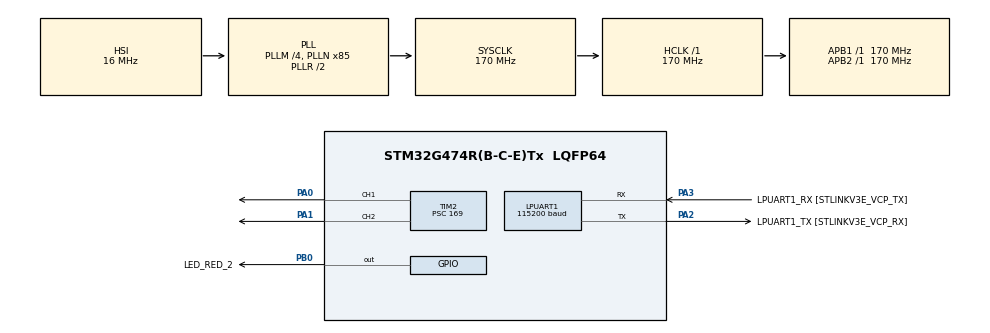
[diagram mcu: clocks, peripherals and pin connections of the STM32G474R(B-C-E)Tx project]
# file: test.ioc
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LPUART1.BaudRate=115200
Mcu.Family=STM32G4
Mcu.Name=STM32G474R(B-C-E)Tx
Mcu.Package=LQFP64
NVIC.LPUART1_IRQn=true\:1\:0\:true\:false\:true\:true\:true\:true
NVIC.PriorityGroup=NVIC_PRIORITYGROUP_4
NVIC.TIM6_DAC_IRQn=true\:1\:0\:true\:false\:true\:true\:true\:true
PA0.Signal=S_TIM2_CH1
PA1.Signal=S_TIM2_CH2
PA13.GPIO_Label=T_SWDIO
PA13.Signal=SYS_JTMS-SWDIO
PA14.GPIO_Label=T_SWCLK
PA14.Signal=SYS_JTCK-SWCLK
PA2.GPIO_Label=LPUART1_TX [STLINKV3E_VCP_RX]
PA2.Mode=Asynchronous
PA2.Signal=LPUART1_TX
PA3.GPIO_Label=LPUART1_RX [STLINKV3E_VCP_TX]
PA3.Mode=Asynchronous
PA3.Signal=LPUART1_RX
PB0.GPIO_Label=LED_RED_2
PB0.Signal=GPIO_Output
PB3.GPIO_Label=T_SWO
PB3.Signal=SYS_JTDO-SWO
PC14-OSC32_IN.GPIO_Label=RCC_OSC32_IN
PC14-OSC32_IN.Signal=RCC_OSC32_IN
PC15-OSC32_OUT.GPIO_Label=RCC_OSC32_OUT
PC15-OSC32_OUT.Signal=RCC_OSC32_OUT
PF0-OSC_IN.GPIO_Label=RCC_OSC_IN
PF0-OSC_IN.Signal=RCC_OSC_IN
PF1-OSC_OUT.GPIO_Label=RCC_OSC_OUT
PF1-OSC_OUT.Signal=RCC_OSC_OUT
ProjectManager.HeapSize=0x200
ProjectManager.StackSize=0x400
ProjectManager.TargetToolchain=STM32CubeIDE
RCC.ADC12Freq_Value=170000000
RCC.ADC345Freq_Value=170000000
RCC.AHBFreq_Value=170000000
RCC.APB1Freq_Value=170000000
RCC.APB1TimFreq_Value=170000000
RCC.APB2Freq_Value=170000000
RCC.APB2TimFreq_Value=170000000
RCC.CortexFreq_Value=170000000
RCC.EXTERNAL_CLOCK_VALUE=12288000
RCC.HCLKFreq_Value=170000000
RCC.HSE_VALUE=24000000
RCC.HSI48_VALUE=48000000
RCC.HSI_VALUE=16000000
RCC.LSE_VALUE=32768
RCC.PLLM=RCC_PLLM_DIV4
RCC.PLLN=85
RCC.RTCClockSelection=RCC_RTCCLKSOURCE_LSE
RCC.SYSCLKFreq_VALUE=170000000
RCC.SYSCLKSource=RCC_SYSCLKSOURCE_PLLCLK
RCC.USBFreq_Value=170000000
RCC.VCOOutputFreq_Value=340000000
SH.S_TIM2_CH1.0=TIM2_CH1,PWM Generation1 CH1
SH.S_TIM2_CH2.0=TIM2_CH2,PWM Generation2 CH2
TIM2.Channel-PWM\ Generation1\ CH1=TIM_CHANNEL_1
TIM2.Channel-PWM\ Generation2\ CH2=TIM_CHANNEL_2
TIM2.PeriodNoDither=999
TIM2.Prescaler=169
TIM6.Prescaler=1700-1
VP_SYS_VS_DBSignals.Mode=DisableDeadBatterySignals
VP_TIM6_VS_ClockSourceINT.Mode=Enable_Timer
board=NUCLEO-G474RE

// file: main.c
/* USER CODE BEGIN Header */
/**
  ******************************************************************************
  * @file           : main.c
  * @brief          : Main program body
  ******************************************************************************
  * @attention
  *
  * Copyright (c) 2026 STMicroelectronics.
  * All rights reserved.
  *
  * This software is licensed under terms that can be found in the LICENSE file
  * in the root directory of this software component.
  * If no LICENSE file comes with this software, it is provided AS-IS.
  *
  ******************************************************************************
  */
/* USER CODE END Header */
#include "main.h"
#include <string.h>
#include <stdio.h>

UART_HandleTypeDef hlpuart1;

TIM_HandleTypeDef htim2;
TIM_HandleTypeDef htim6;

/* USER CODE BEGIN PV */
#define CORRECT_PASSWORD "6666"
char rx_buffer[10];
uint8_t rx_data;
uint8_t rx_index = 0;
uint8_t error_count = 0;
volatile uint32_t lock_timer = 0; // 30秒鎖定倒數計時器（需加 volatile 供中斷修改）

typedef enum {
    STATE_LOCKED = 0,    // 鎖定中（紅燈1呼吸）
    STATE_LOCKOUT_30S,   // 錯誤3次，鎖定30秒（紅1與紅2交互閃爍並倒數）
    STATE_UNLOCKED       // 解鎖狀態（綠燈1呼吸）
} SystemState_t;

volatile SystemState_t current_state = STATE_LOCKED;
/* USER CODE END PV */

void SystemClock_Config(void);
static void MX_GPIO_Init(void);
static void MX_LPUART1_UART_Init(void);
static void MX_TIM2_Init(void);
static void MX_TIM6_Init(void);
/* USER CODE BEGIN PFP */
void UART_SendString(char *str);
/* USER CODE END PFP */

int main(void)
{

  /* MCU Configuration--------------------------------------------------------*/
  HAL_Init();

  /* Configure the system clock */
  SystemClock_Config();

  /* Initialize all configured peripherals */
  MX_GPIO_Init();
  MX_LPUART1_UART_Init();
  MX_TIM2_Init();
  MX_TIM6_Init();

  /* USER CODE BEGIN 2 */
  // 啟動 TIM2 CH1 (PA0 紅燈1) 與 CH2 (PA1 綠燈1) 的 PWM 輸出
  HAL_TIM_PWM_Start(&htim2, TIM_CHANNEL_1);
  HAL_TIM_PWM_Start(&htim2, TIM_CHANNEL_2);

  // 啟動 TIM6 定時器中斷 (精準 1 秒中斷一次)
  HAL_TIM_Base_Start_IT(&htim6);

  // 開啟 LPUART1 中斷接收
  HAL_UART_Receive_IT(&hlpuart1, &rx_data, 1);

  UART_SendString("System Initialized. Please enter password:\r\n");
  /* USER CODE END 2 */

  /* Infinite loop */
  while (1)
  {

      if (current_state == STATE_LOCKED)
      {
          __HAL_TIM_SET_COMPARE(&htim2, TIM_CHANNEL_2, 0); // 關閉綠燈

          // 紅燈 1 (PA0) 呼吸燈
          for (int i = 0; i < 1000; i += 10)
          {
              __HAL_TIM_SET_COMPARE(&htim2, TIM_CHANNEL_1, i);
              HAL_Delay(5);
              if (current_state != STATE_LOCKED) break;
          }
          for (int i = 1000; i > 0; i -= 10)
          {
              __HAL_TIM_SET_COMPARE(&htim2, TIM_CHANNEL_1, i);
              HAL_Delay(5);
              if (current_state != STATE_LOCKED) break;
          }
      }
      else if (current_state == STATE_LOCKOUT_30S)
      {
          // 30 秒鎖定期間：紅燈 1 (PA0) 與紅燈 2 (PB0) 交互閃爍
          __HAL_TIM_SET_COMPARE(&htim2, TIM_CHANNEL_1, 1000);
          HAL_GPIO_WritePin(GPIOB, GPIO_PIN_0, GPIO_PIN_RESET);
          HAL_Delay(300);

          __HAL_TIM_SET_COMPARE(&htim2, TIM_CHANNEL_1, 0);
          HAL_GPIO_WritePin(GPIOB, GPIO_PIN_0, GPIO_PIN_SET);
          HAL_Delay(300);
      }
      else if (current_state == STATE_UNLOCKED)
      {
          __HAL_TIM_SET_COMPARE(&htim2, TIM_CHANNEL_1, 0); // 關閉紅燈1

          // 綠燈 1 (PA1) 呼吸燈
          for (int i = 0; i < 1000; i += 10)
          {
              __HAL_TIM_SET_COMPARE(&htim2, TIM_CHANNEL_2, i);
              HAL_Delay(5);
              if (current_state != STATE_UNLOCKED) break;
          }
          for (int i = 1000; i > 0; i -= 10)
          {
              __HAL_TIM_SET_COMPARE(&htim2, TIM_CHANNEL_2, i);
              HAL_Delay(5);
              if (current_state != STATE_UNLOCKED) break;
          }
      }

  }
}

void SystemClock_Config(void)
{
  RCC_OscInitTypeDef RCC_OscInitStruct = {0};
  RCC_ClkInitTypeDef RCC_ClkInitStruct = {0};

  /** Configure the main internal regulator output voltage
  */
  HAL_PWREx_ControlVoltageScaling(PWR_REGULATOR_VOLTAGE_SCALE1_BOOST);

  /** Initializes the RCC Oscillators according to the specified parameters
  * in the RCC_OscInitTypeDef structure.
  */
  RCC_OscInitStruct.OscillatorType = RCC_OSCILLATORTYPE_HSI;
  RCC_OscInitStruct.HSIState = RCC_HSI_ON;
  RCC_OscInitStruct.HSICalibrationValue = RCC_HSICALIBRATION_DEFAULT;
  RCC_OscInitStruct.PLL.PLLState = RCC_PLL_ON;
  RCC_OscInitStruct.PLL.PLLSource = RCC_PLLSOURCE_HSI;
  RCC_OscInitStruct.PLL.PLLM = RCC_PLLM_DIV4;
  RCC_OscInitStruct.PLL.PLLN = 85;
  RCC_OscInitStruct.PLL.PLLP = RCC_PLLP_DIV2;
  RCC_OscInitStruct.PLL.PLLQ = RCC_PLLQ_DIV2;
  RCC_OscInitStruct.PLL.PLLR = RCC_PLLR_DIV2;
  if (HAL_RCC_OscConfig(&RCC_OscInitStruct) != HAL_OK)
  {
    Error_Handler();
  }

  /** Initializes the CPU, AHB and APB buses clocks
  */
  RCC_ClkInitStruct.ClockType = RCC_CLOCKTYPE_HCLK|RCC_CLOCKTYPE_SYSCLK
                              |RCC_CLOCKTYPE_PCLK1|RCC_CLOCKTYPE_PCLK2;
  RCC_ClkInitStruct.SYSCLKSource = RCC_SYSCLKSOURCE_PLLCLK;
  RCC_ClkInitStruct.AHBCLKDivider = RCC_SYSCLK_DIV1;
  RCC_ClkInitStruct.APB1CLKDivider = RCC_HCLK_DIV1;
  RCC_ClkInitStruct.APB2CLKDivider = RCC_HCLK_DIV1;

  if (HAL_RCC_ClockConfig(&RCC_ClkInitStruct, FLASH_LATENCY_4) != HAL_OK)
  {
    Error_Handler();
  }
}

static void MX_LPUART1_UART_Init(void)
{
  hlpuart1.Instance = LPUART1;
  hlpuart1.Init.BaudRate = 115200;
  hlpuart1.Init.WordLength = UART_WORDLENGTH_8B;
  hlpuart1.Init.StopBits = UART_STOPBITS_1;
  hlpuart1.Init.Parity = UART_PARITY_NONE;
  hlpuart1.Init.Mode = UART_MODE_TX_RX;
  hlpuart1.Init.HwFlowCtl = UART_HWCONTROL_NONE;
  hlpuart1.Init.OneBitSampling = UART_ONE_BIT_SAMPLE_DISABLE;
  hlpuart1.Init.ClockPrescaler = UART_PRESCALER_DIV1;
  hlpuart1.AdvancedInit.AdvFeatureInit = UART_ADVFEATURE_NO_INIT;
  if (HAL_UART_Init(&hlpuart1) != HAL_OK)
  {
    Error_Handler();
  }
  if (HAL_UARTEx_SetTxFifoThreshold(&hlpuart1, UART_TXFIFO_THRESHOLD_1_8) != HAL_OK)
  {
    Error_Handler();
  }
  if (HAL_UARTEx_SetRxFifoThreshold(&hlpuart1, UART_RXFIFO_THRESHOLD_1_8) != HAL_OK)
  {
    Error_Handler();
  }
  if (HAL_UARTEx_DisableFifoMode(&hlpuart1) != HAL_OK)
  {
    Error_Handler();
  }
}

static void MX_TIM2_Init(void)
{
  TIM_MasterConfigTypeDef sMasterConfig = {0};
  TIM_OC_InitTypeDef sConfigOC = {0};

  htim2.Instance = TIM2;
  htim2.Init.Prescaler = 169;
  htim2.Init.CounterMode = TIM_COUNTERMODE_UP;
  htim2.Init.Period = 999;
  htim2.Init.ClockDivision = TIM_CLOCKDIVISION_DIV1;
  htim2.Init.AutoReloadPreload = TIM_AUTORELOAD_PRELOAD_DISABLE;
  if (HAL_TIM_PWM_Init(&htim2) != HAL_OK)
  {
    Error_Handler();
  }
  sMasterConfig.MasterOutputTrigger = TIM_TRGO_RESET;
  sMasterConfig.MasterSlaveMode = TIM_MASTERSLAVEMODE_DISABLE;
  if (HAL_TIMEx_MasterConfigSynchronization(&htim2, &sMasterConfig) != HAL_OK)
  {
    Error_Handler();
  }
  sConfigOC.OCMode = TIM_OCMODE_PWM1;
  sConfigOC.Pulse = 0;
  sConfigOC.OCPolarity = TIM_OCPOLARITY_HIGH;
  sConfigOC.OCFastMode = TIM_OCFAST_DISABLE;
  if (HAL_TIM_PWM_ConfigChannel(&htim2, &sConfigOC, TIM_CHANNEL_1) != HAL_OK)
  {
    Error_Handler();
  }
  if (HAL_TIM_PWM_ConfigChannel(&htim2, &sConfigOC, TIM_CHANNEL_2) != HAL_OK)
  {
    Error_Handler();
  }
  HAL_TIM_MspPostInit(&htim2);
}

static void MX_TIM6_Init(void)
{
  TIM_MasterConfigTypeDef sMasterConfig = {0};

  htim6.Instance = TIM6;
  htim6.Init.Prescaler = 17000 - 1; // 170MHz / 17000 = 10kHz (每 0.1ms 跳動一次)
  htim6.Init.CounterMode = TIM_COUNTERMODE_UP;
  htim6.Init.Period = 10000 - 1;    // 10000 * 0.1ms = 1 秒精準中斷一次
  htim6.Init.AutoReloadPreload = TIM_AUTORELOAD_PRELOAD_DISABLE;
  if (HAL_TIM_Base_Init(&htim6) != HAL_OK)
  {
    Error_Handler();
  }
  sMasterConfig.MasterOutputTrigger = TIM_TRGO_RESET;
  sMasterConfig.MasterSlaveMode = TIM_MASTERSLAVEMODE_DISABLE;
  if (HAL_TIMEx_MasterConfigSynchronization(&htim6, &sMasterConfig) != HAL_OK)
  {
    Error_Handler();
  }
}

static void MX_GPIO_Init(void)
{
  GPIO_InitTypeDef GPIO_InitStruct = {0};

  /* GPIO Ports Clock Enable */
  __HAL_RCC_GPIOC_CLK_ENABLE();
  __HAL_RCC_GPIOF_CLK_ENABLE();
  __HAL_RCC_GPIOA_CLK_ENABLE();
  __HAL_RCC_GPIOB_CLK_ENABLE();

  /*Configure GPIO pin Output Level */
  HAL_GPIO_WritePin(GPIOB, LED_RED_2_Pin, GPIO_PIN_RESET);

  /*Configure GPIO pin : LED_RED_2_Pin */
  GPIO_InitStruct.Pin = LED_RED_2_Pin;
  GPIO_InitStruct.Mode = GPIO_MODE_OUTPUT_PP;
  GPIO_InitStruct.Pull = GPIO_NOPULL;
  GPIO_InitStruct.Speed = GPIO_SPEED_FREQ_LOW;
  HAL_GPIO_Init(GPIOB, &GPIO_InitStruct);
}

/* USER CODE BEGIN 4 */
void UART_SendString(char *str)
{
    HAL_UART_Transmit(&hlpuart1, (uint8_t *)str, strlen(str), HAL_MAX_DELAY);
}

/* TIM6 定時器中斷回呼函式 (每 1 秒觸發一次) */
void HAL_TIM_PeriodElapsedCallback(TIM_HandleTypeDef *htim)
{
    if (htim->Instance == TIM6)
    {
        if (current_state == STATE_LOCKOUT_30S)
        {
            if (lock_timer > 0)
            {
                lock_timer--;
                char msg[50];
                sprintf(msg, "Lockout remaining: %d seconds...\r\n", (int)lock_timer);
                UART_SendString(msg);
            }

            if (lock_timer == 0)
            {
                // 倒數結束，恢復鎖定狀態
                HAL_GPIO_WritePin(GPIOB, LED_RED_2_Pin, GPIO_PIN_RESET); // 關閉紅燈2
                error_count = 0;
                current_state = STATE_LOCKED;
                UART_SendString("Lockout expired. Please enter password:\r\n");
            }
        }
    }
}

/* LPUART1 接收中斷回呼函式 */
void HAL_UART_RxCpltCallback(UART_HandleTypeDef *huart)
{
    if (huart->Instance == LPUART1)
    {
        // 鎖定 30 秒期間直接拒絕輸入
        if (current_state == STATE_LOCKOUT_30S)
        {
            UART_SendString("System Locked! Please wait for countdown.\r\n");
            HAL_UART_Receive_IT(&hlpuart1, &rx_data, 1);
            return;
        }

        if (rx_data == '\r' || rx_data == '\n')
        {
            // 【修正重點】只有當 rx_index > 0 (確實有輸入字元) 時才處理
            if (rx_index > 0)
            {
                rx_buffer[rx_index] = '\0';

                if (current_state == STATE_LOCKED)
                {
                    if (strcmp(rx_buffer, CORRECT_PASSWORD) == 0)
                    {
                        current_state = STATE_UNLOCKED;
                        error_count = 0;
                        UART_SendString("Password Correct! Unlocked.\r\n");
                    }
                    else
                    {
                        error_count++;
                        char msg[50];
                        sprintf(msg, "Wrong Password! Error count: %d/3\r\n", error_count);
                        UART_SendString(msg);

                        if (error_count >= 3)
                        {
                            current_state = STATE_LOCKOUT_30S;
                            lock_timer = 30; // 啟動 30 秒倒數
                            UART_SendString("Too many errors! System locked for 30 seconds.\r\n");
                        }
                    }
                }
                rx_index = 0; // 處理完才重置索引
            }
            // 若 rx_index == 0，代表這是 \r\n 帶來的第二個換行字元，直接忽略不計
        }
        else
        {
            if (rx_index < 4)
            {
                rx_buffer[rx_index++] = rx_data;
            }
        }

        HAL_UART_Receive_IT(&hlpuart1, &rx_data, 1);
    }
}
/* USER CODE END 4 */

void Error_Handler(void)
{
  __disable_irq();
  while (1)
  {
  }
}
